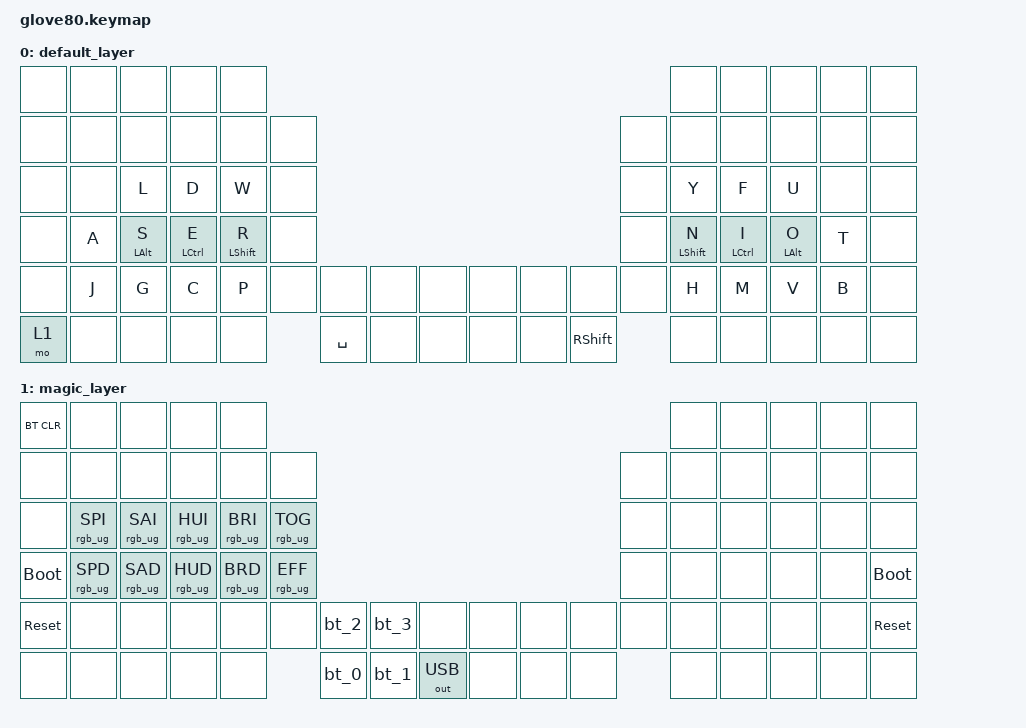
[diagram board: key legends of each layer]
/*
 * Copyright (c) 2020 The ZMK Contributors
 *
 * SPDX-License-Identifier: MIT
 */

#include <behaviors.dtsi>
#include <dt-bindings/zmk/keys.h>
#include <dt-bindings/zmk/bt.h>
#include <dt-bindings/zmk/ext_power.h>
#include <dt-bindings/zmk/outputs.h>
#include <dt-bindings/zmk/rgb.h>

// layers
#define DEFAULT 0
#define LOWER 1
#define MAGIC 2

/ {
    behaviors {
        // For the "layer" key, it'd nice to be able to use it as either a shift or a toggle.
        // Configure it as a tap dance, so the first tap (or hold) is a &mo and the second tap is a &to
        layer_td: tap_dance_0 {
            compatible = "zmk,behavior-tap-dance";
            #binding-cells = <0>;
            tapping-term-ms = <200>;
            bindings = <&mo LOWER>, <&to LOWER>;
        };
    };

    macros {
        bt_0: bt_profile_macro_0 {
            compatible = "zmk,behavior-macro";
            #binding-cells = <0>;
            bindings
                = <&out OUT_BLE>,
                  <&bt BT_SEL 0>;
        };

        bt_1: bt_profile_macro_1 {
            compatible = "zmk,behavior-macro";
            #binding-cells = <0>;
            bindings
                = <&out OUT_BLE>,
                  <&bt BT_SEL 1>;
        };

        bt_2: bt_profile_macro_2 {
            compatible = "zmk,behavior-macro";
            #binding-cells = <0>;
            bindings
                = <&out OUT_BLE>,
                  <&bt BT_SEL 2>;
        };

        bt_3: bt_profile_macro_3 {
            compatible = "zmk,behavior-macro";
            #binding-cells = <0>;
            bindings
                = <&out OUT_BLE>,
                  <&bt BT_SEL 3>;
        };
    };

    keymap {
        compatible = "zmk,keymap";

        default_layer {
            // ---------------------------------------------------------------------------------------------------------------------------------
            // |  F1   |  F2 |  F3 |  F4  |  F5  |                                                               |  F6   |  F7   |  F8  |   F9  |  F10 |
            // |  =    |  1  |  2  |  3   |  4   |  5   |                                                 |  6   |   7   |   8   |  9   |   0   |   -  |
            // |  TAB  |  Q  |  W  |  E   |  R   |  T   |                                                 |  Y   |   U   |   I   |  O   |   P   |   \  |
            // |  ESC  |  A  |  S  |  D   |  F   |  G   |                                                 |  H   |   J   |   K   |  L   |   ;   |   '  |
            // |   `   |  Z  |  X  |  C   |  V   |  B   | LSHFT | LCTRL | LOWER | | LGUI  | RCTRL | RSHFT |  N   |   M   |   ,   |  .   |   /   | PGUP |
            // | MAGIC | HOME| END | LEFT | RIGHT|      | BSPC  | DEL   | LALT  | | RALT  | RET   | SPACE |      |  UP   | DOWN  |  [   |   ]   | PGDN |

              bindings = <
&none  &none  &none            &none         &none                                                                                &none              &none         &none            &none  &none
&none  &none  &none            &none         &none              &none                                                      &none  &none              &none         &none            &none  &none
&none  &none  &kp L            &kp D         &kp W              &none                                                      &none  &kp Y              &kp F         &kp U            &none  &none
&none  &kp A  &hml LEFT_ALT S  &hml LCTRL E  &hml LEFT_SHIFT R  &none                                                      &none  &hmr LEFT_SHIFT N  &hmr LCTRL I  &hmr LEFT_ALT O  &kp T  &none
&none  &kp J  &kp G            &kp C         &kp P              &none  &none      &none  &none    &none  &none  &none      &none  &kp H              &kp M         &kp V            &kp B  &none
&mo 1  &none  &none            &none         &none                     &kp SPACE  &none  &none    &none  &none  &kp RSHFT         &none              &none         &none            &none  &none
            >;
        };

        magic_layer {
            bindings = <
            &bt BT_CLR        &none               &none           &none           &none                                                                                                           &none      &none      &none      &none      &none
            &none             &none               &none           &none           &none           &none                                                                                &none      &none      &none      &none      &none      &none
            &none             &rgb_ug RGB_SPI     &rgb_ug RGB_SAI &rgb_ug RGB_HUI &rgb_ug RGB_BRI &rgb_ug RGB_TOG                                                                      &none      &none      &none      &none      &none      &none
            &bootloader       &rgb_ug RGB_SPD     &rgb_ug RGB_SAD &rgb_ug RGB_HUD &rgb_ug RGB_BRD &rgb_ug RGB_EFF                                                                      &none      &none      &none      &none      &none      &bootloader
            &sys_reset        &none               &none           &none           &none           &none           &bt_2     &bt_3     &none            &none     &none     &none       &none      &none      &none      &none      &none      &sys_reset
            &none             &none               &none           &none           &none                           &bt_0     &bt_1     &out OUT_USB     &none     &none     &none                  &none      &none      &none      &none      &none
            >;
        };
    };
};
